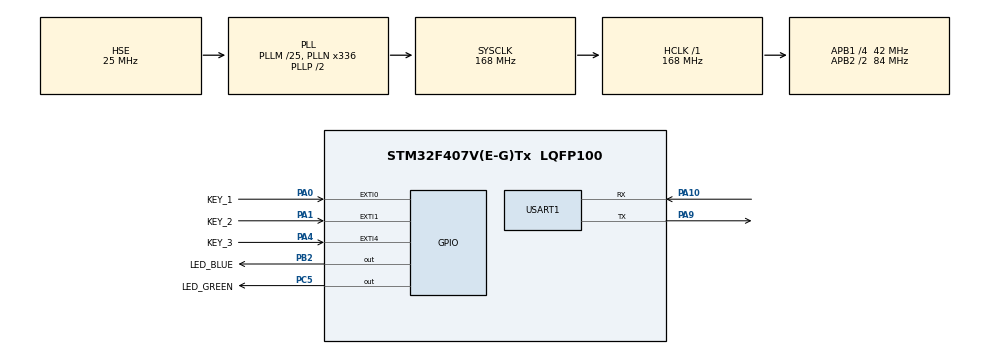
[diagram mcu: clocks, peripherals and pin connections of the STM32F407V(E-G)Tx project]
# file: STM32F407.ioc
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Mcu.Family=STM32F4
Mcu.Name=STM32F407V(E-G)Tx
Mcu.Package=LQFP100
NVIC.EXTI0_IRQn=true\:0\:0\:false\:false\:true\:true\:true\:true
NVIC.EXTI1_IRQn=true\:0\:0\:false\:false\:true\:true\:true\:true
NVIC.EXTI4_IRQn=true\:0\:0\:false\:false\:true\:true\:true\:true
NVIC.PriorityGroup=NVIC_PRIORITYGROUP_4
PA0-WKUP.GPIO_Label=KEY_1
PA0-WKUP.GPIO_ModeDefaultEXTI=GPIO_MODE_IT_RISING
PA0-WKUP.GPIO_PuPd=GPIO_PULLDOWN
PA0-WKUP.Signal=GPXTI0
PA1.GPIO_Label=KEY_2
PA1.GPIO_ModeDefaultEXTI=GPIO_MODE_IT_FALLING
PA1.GPIO_PuPd=GPIO_PULLUP
PA1.Signal=GPXTI1
PA10.Mode=Asynchronous
PA10.Signal=USART1_RX
PA13.Mode=Serial_Wire
PA13.Signal=SYS_JTMS-SWDIO
PA14.Mode=Serial_Wire
PA14.Signal=SYS_JTCK-SWCLK
PA4.GPIO_Label=KEY_3
PA4.GPIO_ModeDefaultEXTI=GPIO_MODE_IT_FALLING
PA4.GPIO_PuPd=GPIO_PULLUP
PA4.Signal=GPXTI4
PA9.Mode=Asynchronous
PA9.Signal=USART1_TX
PB2.GPIO_Label=LED_BLUE
PB2.Signal=GPIO_Output
PC5.GPIO_Label=LED_GREEN
PC5.Signal=GPIO_Output
PH0-OSC_IN.Mode=HSE-External-Oscillator
PH0-OSC_IN.Signal=RCC_OSC_IN
PH1-OSC_OUT.Mode=HSE-External-Oscillator
PH1-OSC_OUT.Signal=RCC_OSC_OUT
ProjectManager.HeapSize=0x200
ProjectManager.StackSize=0x400
ProjectManager.TargetToolchain=MDK-ARM V5.32
RCC.48MHZClocksFreq_Value=84000000
RCC.AHBFreq_Value=168000000
RCC.APB1CLKDivider=RCC_HCLK_DIV4
RCC.APB1Freq_Value=42000000
RCC.APB1TimFreq_Value=84000000
RCC.APB2CLKDivider=RCC_HCLK_DIV2
RCC.APB2Freq_Value=84000000
RCC.APB2TimFreq_Value=168000000
RCC.CortexFreq_Value=168000000
RCC.HCLKFreq_Value=168000000
RCC.HSE_VALUE=25000000
RCC.HSI_VALUE=16000000
RCC.LSE_VALUE=32768
RCC.PLLM=25
RCC.PLLN=336
RCC.PLLSourceVirtual=RCC_PLLSOURCE_HSE
RCC.SYSCLKFreq_VALUE=168000000
RCC.SYSCLKSource=RCC_SYSCLKSOURCE_PLLCLK
RCC.VCOOutputFreq_Value=336000000
USART1.VirtualMode=VM_ASYNC
board=custom

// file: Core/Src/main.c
/* USER CODE BEGIN Header */
/**==================================================================================================================
 ** 【代码编写】  魔女开发板团队
 ** 【淘    宝】  魔女开发板       https://demoboard.taobao.com
 **==================================================================================================================
 ** 【实验名称】  NRF24L01 (接收方）
 **
 ** 【适用平台】  STM32F407 + keil5 + HAL库
 **
 ** 【实验操作】  本示例文件中，有发送方、接收方两个示例;
 **               需要使用两个开发板+NRF24L01模块, 接bsp_NRF24L01.h中引脚宏定义进行接线;
 **               分别烧录发送方示例、接收方示例;
 **               打开两个串口助手;
 **               发送方：已在while()中设置了每隔0.5秒发送一次数据, 发送成功会printf提示, 发送失败也会printf提示;
 **               接收方：已在while()里写好判断示范代码，当接收到一包数据后，会printf出详细的数据;
 **               发送方和接收方两者代码的区别：bsp_NRF24L01.c和bsp_NRF24L01.h代码，是一样的; 不同的地方有两处：其一是main中的地址设置不一样，简单的互调即可, 其二是while部分的收发不一样，查看main.c文件即可明白;
 **
 ** 【 CubeMX 】  在h文件中修改引脚、SPI端口号，即可;
 **               无需通过CubeMX、CubeIDE对本模块进行引脚、SPI的配置;
 **               这样做的目的：为了简化文件的复制、移植;
 **               bsp_NRF24L01.c中，已对初始化、通信的收发，都编写好了处理函数 ，调用h文件中声明的函数，即可完成初始化、收发通信等;
 **               注意冲突：IRQ引脚需要使用到中断，在本C文件中，已写好了中断服务函数，注意不要使用与CubeMX工程中相冲突的引脚、中断编号，否则编译时会提示中断服务函数的重复定义;
 **
 ** 【移植说明】  1- 复制本工程的NRF24L01文件夹，到目标工程文件夹中;
 **               2- 添加文件路径：  Keil > Option > C/C++ > Include Paths，选择NRF24L01的目录路径;
 **               3- 添加文件到工程: Keil > 左侧工程管理器中双击目标文件夹 > 选择 bsp_NRF24L01.c;
 **               4- 添加文件引用:   #include "bsp_NRF24L01.h＂，即哪个文件要用此功能，就在其代码文件顶部添加引用;
 **
 ** 【引脚解释】  VCC  -  3.3V; 千万别接子5V
 **               GND  -  GND
 **               CE   -  工作模式控制; 置低:配置寄存器、置高:10us后进入设定的工作模式(发送、接收等)
 **               IRQ  -  中断信号引脚，闲时是高电平，芯片发生中断时会把其拉至低电平; 发生中断时的3种情况：发送成功、重发次数溢出、接收到新一帧数据
 **               SCK  -  SPI通信，时钟信号线
 **               CS   -  SPI通信, 片选线; 闲时高电平，通信时手动置低电平;
 **               MISO -  SPI通信，主机输入从机输出
 **               MOSI -  SPI通信，主机输出从机输入
 **
 ** 【引脚修改】  1-在bsp_NRF24L01.h的宏定义中修改需要使用的引脚;
 **               2-IRQ引脚的修改，要特别留意, 别和CubeMX工程中的其它中断引脚重叠中断号，否则编译时会冲突; 中断号可以csdn刨文章;
 **               3-SPI端口，也在此文件的宏定义中修改;
 **
 ** 【参数修改】  1-在bsp_NRF24L01.h的宏定义中: 频率、CRC、波特率、发送功率;
 **               2-通信双方上述前3个参数，必须一样，才能通信;
 **               3-发射功率、波特率，这两个参数会影响通信距离，具体请按需另行实测;
 **
 ** 【初 始 化】  1-初始化，需要2个函数：①初始化、②设置接收通道地址;
 **               2-调用 NRF24L01_Init()，即可对h文件中宏定义的引脚、SPI端口进行初始化;
 **               3-调用 NRF24L01_SetAddr(uint8_t* 5字节地址, uint8_t 通道0~5)，设置模块自己接收通道x的地址值; NRF24L01其实有6个接收通道, 通道0和1能自由地设置5个字节的地址值，通道2~5的高4字节要和通道1的高4字节相同，只能自由设定最低1字节的值;
 **               4-设置自己的地址后，函数会配置为接收模式，模块开始自动对空中信号进行监听;
 **
 ** 【如何发送】  1-发送，需要2个函数：①设置发送地址、②发送数据
 **               2-调用 NRF24L01_SetTxAddr(uint8_t*  5字节地址值)，设置对面接收方的地址; 参数可以传入数组，也可以用传入字符串，建议使用后者，这样更便于命名和记忆。
 **               3-调用 NRF24L01_SendData(uint8_t* 数据, uint8_t 字节数)，函数将自动切换到发送模式，并按设定的频率、地址等参数，把数据发出;
 **               4-关于判断发送成功，当对方成功收到数据后，会发回ack信号 ; 调用 NRF24L01_GetSendStatus()，通过其返回值对比，可以知道发送的各个状态：0-无效值、1-发送成功、2-发送失败、3-正在发送、4-字节数不在有效范围(1~31)、5-NRF24L01尚未初始化
 **               5-NRF24L01限定每包最大32字节; 发送函数内部利用[0]存放字节数，[1]起存放有效数据，因此每包最大发送31字节; 用户无需外部处理上述操作，只需传入原始数据、原始的字节数即可，函数内部会自动处理成：[0]-字节数、[1]起-有效数据;
 **               6-每次发送数据后，发送成功、发送失败，都会自动切换回接收模式继续监听空中信号;
 **               7-每包发送间隔时间：建议间隔1ms以上; 因为spi传输、空中传输、工作模式这三项，都需要时间;
 **
 ** 【如何接收】  1-接收，需要3个函数：①获取接收字节数、②获取数据地址、③清零接收
 **               2-调用函数 NRF24L01_GetRxNum(void), 返回接收的字节数:0~31; 单位:字节; 0-无接收、非0-新一帧数据的字节数;
 **               3-利用返回值判断接收：返回值>0，即为接收到新一帧数据;
 **               4-返回值>0时，调用函数 NRF24L01_GetRxData(), 即可返回当前一帧数据的缓存地址;
 **               5-每次处理完一帧数据后，调用 NRF24L01_ClearRx(), 即可清0接收字节数、数据，以方便下一帧数据的接收判断工作;
 **
 ** 【调试经验】  1-不要和其它功能联合调试，以避免大量的调试时间消耗; 先调通了基本的收发，再一点点增加其它功能，如按键发送、协议等;
 **               2-调试时，先把两个开发板+模块，放在桌面上调试，不要间隔太远，以减少信号衰减掉包问题的发生;
 **               3-掉包问题，一般是这几种原因：双方空中参数不一致、间隔太远、发送间隔太短、地址错误、接收判断间隔太久;
 **               4-信号衰减，主要受限于收发间的障碍物; 空旷地方能有20米左右，室内实测，一堵墙10米内，两堵墙6米内;
 **
 ** 【更新记录】  2024-02-19  简化函数名称、优化接收处理
 **               2024-02-17  从标准库中更新至HAL库
 **
 ** 【备注说明】  版权归魔女科技所有，请勿商用，谢谢！
 **               https://demoboard.taobao.com
 **
==================================================================================================================**/
/* USER CODE END Header */
#include "main.h"
#include "usart.h"
#include "gpio.h"

/* USER CODE BEGIN Includes */
/* 用户代码，必须写在配对的BEGIN与END之间，否则CubeMX重新生成后，会被删除掉 */

#include "bsp_UART.h"            // 串口通信底层驱动文件; 已重写好初始化、收发，调用函数即可使用串口
#include "bsp_NRF24l01.h"        // NRF24L01通信的自定义文件，包含：发送函数、接收函数等

/* USER CODE END Includes */

void SystemClock_Config(void);

int main(void)
{
    /* USER CODE BEGIN 1 */

    /* 说明：
     * 1. 不要删除CubeMX生成的注释行（形如 USER CODE BEGIN/END），这些注释用于代码重新生成时的定位
     * 2. 所有用户自定义代码必须写在对应的BEGIN与END注释行之间，否则重新生成时会被覆盖
     * 3. 主要初始化函数说明：
     *    - HAL_Init()            初始化HAL库，配置中断优先级、系统时基等
     *    - SystemClock_Config()  配置系统时钟
     *    - MX_GPIO_Init()        初始化GPIO引脚（仅包含推挽输出、中断触发等配置）
     *    - 外设功能引脚（如UART、SPI等）的初始化在各自的功能文件中
     */

    /* USER CODE END 1 */

    /* MCU Configuration--------------------------------------------------------*/

    /* Reset of all peripherals, Initializes the Flash interface and the Systick. */
    HAL_Init();

    /* Configure the system clock */
    SystemClock_Config();

    /* Initialize all configured peripherals */
    MX_GPIO_Init();
    MX_USART1_UART_Init();
    /* USER CODE BEGIN 2 */
    /* 用户代码，必须写在配对的BEGIN与END之间 */

    HAL_GPIO_WritePin(LED_GREEN_GPIO_Port, LED_GREEN_Pin, GPIO_PIN_SET);   // 引脚置高电平，绿亮灭

    UART1_Init(115200);                                                    // 初始化 串口1; 已写好底层，调用h中的函数即可使用; 引脚(PA9 +PA10)、波特率-None-8-1; 如果使用CubeMX配置，请使用前述引脚，但，不要在MX上进行中断及DMA配置，否则冲突

    NRF24L01_Init();                                                       // NRF24L01初始化：引脚、SPI
    NRF24L01_SetMyAddr((uint8_t*)"Dev-3", 2);                              // 设置NRF24L01某接收通道的地址; 参数：地址值(5字节)、通道(0~5); NRF24L01有6个接收通道，均能独立接收数据; 通道0、1能设置自由的地址，通道2~5的前4个字节必须与通道1相同;
    NRF24L01_SetTxAddr((uint8_t*)"Boss");                                  // 设置发送地址，即对面接收方的地址; 如果每次都是相同的接收方，只需设置一次; 如果每次的发送目标地址不一样，则发送前调用本函数进行设置;
    // NRF24L01_ReadConfig();                                              // 读取NRF24L01的参数，并printf出来，以方便观察和调试

    /* USER CODE END 2 */

    /* Infinite loop */
    while (1)
    {

        /* USER CODE BEGIN 3 */
        /* 用户代码，必须写在配对的BEGIN与END之间 */

        /** 1ms延时 **/
        HAL_Delay(1 - 1);                                                  // 延时函数，参数：ms; 特别地：CubeMX生成的HAL_Delay(), 函数内部为避免无效操作，会对传入参数+1，因此，如果只需要几ms延时建议传入参数时-1，如果需要大几百ms的非精准延时，那参数不-1也影响不大

        /** 检查UART1是否收到数据 (串口助手) **/
        if (UART1_GetRxNum())                                              // 判断USART1是否获取到新一帧数据：函数返回的接收字节数，大于0，即为收到新一帧数据
        {
            printf("\r>>>>> 准备发送一帧数据 \r");                         // 提示
            printf("字节数：%d \r", UART1_GetRxNum());                     // 显示字节数
            printf("ASCII ：%s\r", (char *)UART1_GetRxData());             // 显示数据，以ASCII方式显示，即以字符串的方式显示
            // 把串口助手发过来的数据，经NRF24L01发出去
            NRF24L01_SendData(UART1_GetRxData(), UART1_GetRxNum());        // 发送数据; 参数:数据、字节数(1~31); NRF24L01限定每包最大32字节; 发送函数内部利用[0]存放字节数，[1]起存放有效数据，因此每包最大发送31字节;
            UART1_ClearRx();                                               // 重要：清0接收标志，即清0接收到的字节数; 每次处理完成数据，就要调用这个函数清0
        }

        /** 检查NRF24L01是否收到数据 **/
        if (NRF24L01_GetRxNum())                                           // 获取接收字节数; 值范围:0~31; 0-无接收、非0-新一帧数据的字节数;
        {
            uint8_t  rxNum = NRF24L01_GetRxNum();                          // 获取接收的字节数; 值范围:0~31;
            uint8_t *rxData = NRF24L01_GetRxData();                        // 获取接收的数据(地址); 特别注意：[0]-字节数、[1]起-有效数据;
            printf("\r<<<<< NRF24L01 收到一帧数据 \r");                    // 输出提示;
            printf("字节数: %d\r", rxNum);                                 // 显示字节数;
            printf("ASCII : %s\r", (char *)rxData);                        // 显示数据，以ASCII方式显示，即以字符串的方式显示;
            printf("16进制: ");                                            // 显示数据，以16进制方式，显示每一个字节的值;
            for (uint8_t i = 0; i <= rxNum; i++)                           // 逐个字节输出; [0]-字节数、[1]起-有效数据;
                printf("%d ", *rxData++);                                  // 格式化;
            printf("\r\r");                                                // 显示换行;
            NRF24L01_ClearRx();                                            // 重要：清0接收标志、数据; 每次处理完一帧数据后，必须清0;
        }

#if 0
        /** 每1000ms执行一次 **/
        static uint16_t ms = 0;
        if (++ms == 1000)                                                  // 每1000ms执行一次
        {
            ms = 0;                                                        // 计数清0
            HAL_GPIO_TogglePin(LED_BLUE_GPIO_Port, LED_BLUE_Pin);          // 规律地闪烁蓝色LED，方便外部观察系统是否正常运行
            // 间隔发送数据，以方便测试
            uint8_t testData[] = "hello, 你好吗？";                        // 定义发送的测试数据
            NRF24L01_SendData(testData, strlen((char*)testData));          // 发送数据; 参数:数据、字节数(1~31); NRF24L01限定每包最大32字节; 发送函数内部利用[0]存放字节数，[1]起存放有效数据，因此每包最大发送31字节;
        }
#endif

        /** 获取发送状态 **/                                               // 获取发送状态，调试使用，非必需的功能
        uint8_t sendStatus = NRF24L01_GetSendStatus();
        switch (sendStatus)
        {
            case 0:
                break;
            case 1:                                                        // 发送成功; 可自行修改为需要的处理
                printf("NRF24L01: 已发送成功!\r\r");
                break;
            case 2:                                                        // 发送失败; 可自行修改为需要的处理
                printf("NRF24L01: 发送失败，达到最在发送次数\r\r");
                break;
            case 3:                                                        // 正在发送; 可自行修改为需要的处理
                break;
            case 4:
                printf("NRF24L01: 放弃发送，字节数不在有效范围(1~31)！\r");// 放弃发送; 字节数不在有效范围内
                break;
            case 5:
                printf("NRF24L01: 放弃发送，NRF24L01尚未初始化！\r");      // 放弃发送; NRF24L01尚未初始化成功
                break;
        }

        /** 每500ms规律地闪烁绿色LED, 便于观察程序是否运行、卡死 **/
        static uint32_t lastTime_500ms = 0;                                // 定义静态变量，用于记录上次执行这个任务的时间点(单位：毫秒)
        if (HAL_GetTick() - lastTime_500ms >= 500)                         // 检查当前时间距离上次执行是否已经过了500ms; HAL_GetTick()是获取启动后经过的毫秒数;
        {
            HAL_GPIO_TogglePin(GPIOC, GPIO_PIN_5);                         // 控制绿色LED引脚电平翻转(PC5); 规律地闪烁LED，方便外部观察系统是否正常运行
            lastTime_500ms =   HAL_GetTick();                              // 记录当前时间，作为新的基准点，为下一次判断做准备
        }
    }

    /* USER CODE END 3 */
}

void SystemClock_Config(void)
{
    RCC_OscInitTypeDef RCC_OscInitStruct = {0};
    RCC_ClkInitTypeDef RCC_ClkInitStruct = {0};

    /** Configure the main internal regulator output voltage
    */
    __HAL_RCC_PWR_CLK_ENABLE();
    __HAL_PWR_VOLTAGESCALING_CONFIG(PWR_REGULATOR_VOLTAGE_SCALE1);

    /** Initializes the RCC Oscillators according to the specified parameters
    * in the RCC_OscInitTypeDef structure.
    */
    RCC_OscInitStruct.OscillatorType = RCC_OSCILLATORTYPE_HSE;
    RCC_OscInitStruct.HSEState = RCC_HSE_ON;
    RCC_OscInitStruct.PLL.PLLState = RCC_PLL_ON;
    RCC_OscInitStruct.PLL.PLLSource = RCC_PLLSOURCE_HSE;
    RCC_OscInitStruct.PLL.PLLM = 25;
    RCC_OscInitStruct.PLL.PLLN = 336;
    RCC_OscInitStruct.PLL.PLLP = RCC_PLLP_DIV2;
    RCC_OscInitStruct.PLL.PLLQ = 4;
    if (HAL_RCC_OscConfig(&RCC_OscInitStruct) != HAL_OK)
    {
        Error_Handler();
    }

    /** Initializes the CPU, AHB and APB buses clocks
    */
    RCC_ClkInitStruct.ClockType = RCC_CLOCKTYPE_HCLK | RCC_CLOCKTYPE_SYSCLK
                                  | RCC_CLOCKTYPE_PCLK1 | RCC_CLOCKTYPE_PCLK2;
    RCC_ClkInitStruct.SYSCLKSource = RCC_SYSCLKSOURCE_PLLCLK;
    RCC_ClkInitStruct.AHBCLKDivider = RCC_SYSCLK_DIV1;
    RCC_ClkInitStruct.APB1CLKDivider = RCC_HCLK_DIV4;
    RCC_ClkInitStruct.APB2CLKDivider = RCC_HCLK_DIV2;

    if (HAL_RCC_ClockConfig(&RCC_ClkInitStruct, FLASH_LATENCY_5) != HAL_OK)
    {
        Error_Handler();
    }
}

/* USER CODE BEGIN 4 */
/* 所有用户代码，必须写在配对的BEGIN与END之间 */

/******************************************************************************
 * 函  数： HAL_GPIO_EXTI_Callback
 * 功  能： EXTI中断回调函数
 * 参  数： uint16_t  GPIO_Pin    引脚编号，参数范围：GPIO_Pin_0 ~ GPIO_Pin_15
 * 返回值： 无
 * 备  注： CubeMX生成的代码在思维和风格上，与使用标准库编写时有很大的区别：
 *          1：这个是回调函数，不是中断服务函数。完整的调用：EXTIx_IRQHandler() > HAL_GPIO_EXTI_IRQHandler(GPIO_PIN_x) > HAL_GPIO_EXTI_Callback(GPIO_PIN_x)
 *          2：必须使用这个函数名称，因为它在CubeMX生成时，已被写好了各种函数调用、函数弱定义(在stm32xx_hal_gpio.c的底部); 不建议在原弱定义中增添代码，而是重写本函数
 *          3：中断条件触发后，本函数被自动调用，无需进行人工调用; 也无需进行中断标志的清理，因为HAL_GPIO_EXTI_IRQHandler()函数中已有操作;
 *          4：生成的所有EXTI中断服务函数，都统一调用这个函数，以引脚编号作参数
 *          5：判断参数传进来的引脚编号，即可知道是哪个外部中断线产生的中断信号
******************************************************************************/
void HAL_GPIO_EXTI_Callback(uint16_t GPIO_Pin)
{
    if (GPIO_Pin == KEY_1_Pin)                                  // 按键1 产生的中断信号：KEY_1、PA0、闲时下拉、按下时高电平、上升沿触发
    {
        HAL_GPIO_TogglePin(GPIOB, GPIO_PIN_2);                  // 反转蓝色LED灯
        printf("KEY_1 按下\r");                                 // 通过串口助手输出提示
    }

    if (GPIO_Pin == KEY_2_Pin)                                  // 按键2 产生的中断信号：KEY_2、PA1、闲时上拉、按下时低电平、下降沿触发
    {
        HAL_GPIO_TogglePin(GPIOB, GPIO_PIN_2);                  // 反转蓝色LED灯
        printf("KEY_2 按下\r");                                 // 通过串口助手输出提示
    }

    if (GPIO_Pin == KEY_3_Pin)                                  // 按键3 产生的中断信号：KEY_3、PA4、闲时上拉、按下低高电平、下降沿触发
    {
        HAL_GPIO_TogglePin(GPIOB, GPIO_PIN_2);                  // 反转蓝色LED灯
        printf("KEY_3 按下\r");                                 // 通过串口助手输出提示
    }

}

/* USER CODE END 4 */

void Error_Handler(void)
{
    __disable_irq();
    while (1)
    {
    }
}
